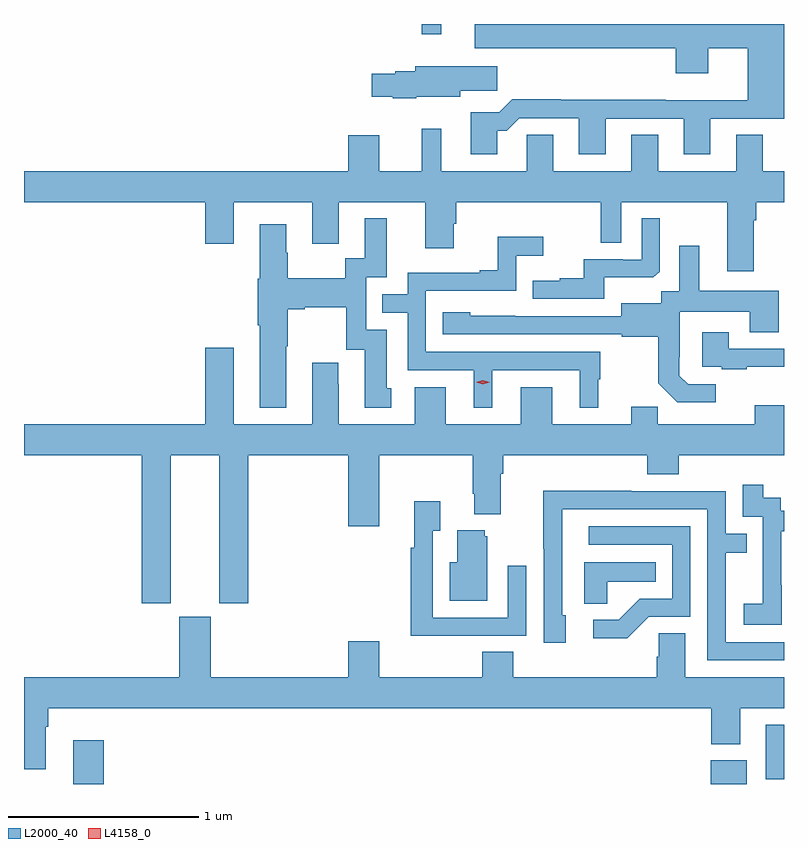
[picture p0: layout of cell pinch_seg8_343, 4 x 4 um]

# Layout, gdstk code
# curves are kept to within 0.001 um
import gdstk
lib = gdstk.Library(unit=1e-6, precision=1e-09)
def R(c, l, rs):  # rectangles x0, y0, x1, y1
    for r in rs: c.add(gdstk.rectangle(r[:2], r[2:], *l))
def P(c, l, *ps):  # polygons
    for p in ps: c.add(gdstk.Polygon(p, *l))
L2000_40 = (2000, 40)
L4158_0 = (4158, 0)

pinch_seg8_343 = lib.new_cell('pinch_seg8_343')
R(pinch_seg8_343, L2000_40, [(487.238,1154.73,487.397,1154.959), (490.592,1154.73,490.783,1154.854), (490.883,1154.754,490.978,1155.043), (489.071,1158.675,489.175,1158.73)])
P(pinch_seg8_343, L2000_40, [(489.469,1158.167),(489.518,1158.167),(489.585,1158.234),(489.899,1158.234),(489.899,1158.045),(490.039,1158.045),(490.039,1158.231),(490.451,1158.231),(490.451,1158.045),(490.591,1158.045),(490.591,1158.231),(490.978,1158.231),(490.978,1158.73),(489.35,1158.73),(489.35,1158.602),(490.409,1158.602),(490.409,1158.471),(490.579,1158.471),(490.579,1158.602),(490.787,1158.602),(490.787,1158.328),(490.355,1158.328),(490.355,1158.332),(489.803,1158.332),(489.803,1158.335),(489.548,1158.335),(489.478,1158.265),(489.329,1158.265),(489.329,1158.045),(489.469,1158.045)],
  [(489.042,1158.347),(489.274,1158.347),(489.274,1158.379),(489.469,1158.379),(489.469,1158.508),(489.038,1158.508),(489.038,1158.482),(488.931,1158.482),(488.931,1158.469),(488.808,1158.469),(488.808,1158.347),(488.92,1158.347),(488.92,1158.34),(489.042,1158.34)],
  [(490.819,1157.696),(490.832,1157.696),(490.832,1157.792),(490.978,1157.792),(490.978,1157.956),(490.867,1157.956),(490.867,1158.146),(490.727,1158.146),(490.727,1157.956),(490.315,1157.956),(490.315,1158.146),(490.175,1158.146),(490.175,1157.956),(489.763,1157.956),(489.763,1158.146),(489.624,1158.146),(489.624,1157.956),(489.175,1157.956),(489.175,1158.178),(489.071,1158.178),(489.071,1157.956),(488.848,1157.956),(488.848,1158.145),(488.684,1158.145),(488.684,1157.956),(486.978,1157.956),(486.978,1157.792),(487.931,1157.792),(487.931,1157.574),(488.083,1157.574),(488.083,1157.792),(488.495,1157.792),(488.495,1157.574),(488.635,1157.574),(488.635,1157.792),(489.089,1157.792),(489.089,1157.55),(489.241,1157.55),(489.241,1157.679),(489.254,1157.679),(489.254,1157.792),(490.014,1157.792),(490.014,1157.578),(490.122,1157.578),(490.122,1157.792),(490.679,1157.792),(490.679,1157.43),(490.819,1157.43)],
  [(490.033,1157.396),(490.291,1157.396),(490.323,1157.427),(490.323,1157.707),(490.23,1157.707),(490.23,1157.49),(490.13,1157.49),(490.13,1157.493),(489.923,1157.493),(489.923,1157.392),(489.799,1157.392),(489.799,1157.38),(489.655,1157.38),(489.655,1157.283),(490.033,1157.283)],
  [(488.359,1157.035),(488.367,1157.035),(488.367,1157.228),(488.455,1157.228),(488.455,1157.24),(488.675,1157.24),(488.675,1157.016),(488.771,1157.016),(488.771,1156.71),(488.911,1156.71),(488.911,1156.812),(488.887,1156.812),(488.887,1157.121),(488.778,1157.121),(488.778,1157.397),(488.887,1157.397),(488.887,1157.707),(488.771,1157.707),(488.771,1157.498),(488.67,1157.498),(488.67,1157.392),(488.367,1157.392),(488.367,1157.526),(488.359,1157.526),(488.359,1157.677),(488.219,1157.677),(488.219,1157.388),(488.207,1157.388),(488.207,1157.144),(488.219,1157.144),(488.219,1156.709),(488.359,1156.709)],
  [(489.442,1156.908),(489.902,1156.908),(489.902,1156.709),(490,1156.709),(490,1156.86),(490.012,1156.86),(490.012,1157.004),(489.093,1157.004),(489.093,1157.325),(489.57,1157.325),(489.57,1157.51),(489.712,1157.51),(489.712,1157.609),(489.472,1157.609),(489.472,1157.434),(489.377,1157.434),(489.377,1157.421),(488.997,1157.421),(488.997,1157.307),(488.863,1157.307),(488.863,1157.211),(488.997,1157.211),(488.997,1156.908),(489.344,1156.908),(489.344,1156.709),(489.442,1156.709)],
  [(490.618,1156.833),(490.473,1156.833),(490.426,1156.88),(490.426,1156.975),(490.428,1156.975),(490.428,1157.216),(490.799,1157.216),(490.799,1157.107),(490.951,1157.107),(490.951,1157.326),(490.531,1157.326),(490.531,1157.563),(490.427,1157.563),(490.427,1157.324),(490.332,1157.324),(490.332,1157.26),(490.121,1157.26),(490.121,1157.193),(489.327,1157.194),(489.327,1157.212),(489.183,1157.212),(489.183,1157.097),(490.125,1157.097),(490.125,1157.085),(490.317,1157.085),(490.317,1156.839),(490.417,1156.739),(490.618,1156.739)],
  [(490.783,1156.925),(490.978,1156.925),(490.978,1157.022),(490.687,1157.022),(490.687,1157.107),(490.547,1157.107),(490.547,1156.926),(490.651,1156.926),(490.651,1156.914),(490.783,1156.914)],
  [(486.978,1156.46),(487.598,1156.46),(487.598,1155.681),(487.75,1155.681),(487.75,1156.46),(488.006,1156.46),(488.006,1155.681),(488.159,1155.681),(488.159,1156.46),(488.684,1156.46),(488.684,1156.086),(488.848,1156.086),(488.848,1156.46),(489.34,1156.46),(489.34,1156.258),(489.347,1156.258),(489.347,1156.151),(489.487,1156.151),(489.487,1156.364),(489.5,1156.364),(489.5,1156.46),(490.259,1156.46),(490.259,1156.361),(490.424,1156.361),(490.424,1156.46),(490.978,1156.46),(490.978,1156.723),(490.823,1156.723),(490.823,1156.624),(490.313,1156.624),(490.313,1156.715),(490.175,1156.715),(490.175,1156.624),(489.757,1156.624),(489.757,1156.819),(489.593,1156.819),(489.593,1156.624),(489.199,1156.624),(489.199,1156.819),(489.035,1156.819),(489.035,1156.624),(488.635,1156.624),(488.635,1156.835),(488.632,1156.835),(488.632,1156.948),(488.495,1156.948),(488.495,1156.624),(488.083,1156.624),(488.083,1157.026),(487.931,1157.026),(487.931,1156.624),(486.978,1156.624)],
  [(490.965,1155.775),(490.964,1155.775),(490.964,1156.059),(490.978,1156.059),(490.978,1156.167),(490.962,1156.167),(490.962,1156.236),(490.87,1156.236),(490.87,1156.306),(490.761,1156.306),(490.761,1156.137),(490.866,1156.137),(490.866,1155.908),(490.865,1155.908),(490.865,1155.679),(490.767,1155.679),(490.767,1155.569),(490.965,1155.569)],
  [(490.978,1155.477),(490.671,1155.477),(490.671,1155.946),(490.781,1155.946),(490.781,1156.047),(490.671,1156.047),(490.671,1156.272),(490.175,1156.272),(490.175,1156.274),(489.712,1156.274),(489.712,1155.967),(489.714,1155.967),(489.714,1155.474),(489.829,1155.474),(489.829,1155.618),(489.81,1155.618),(489.81,1156.176),(490.575,1156.176),(490.575,1155.381),(490.978,1155.381)],
  [(489.305,1155.51),(489.621,1155.51),(489.621,1155.88),(489.525,1155.88),(489.525,1155.606),(489.129,1155.606),(489.129,1156.063),(489.169,1156.063),(489.169,1156.219),(489.032,1156.219),(489.032,1155.974),(489.013,1155.974),(489.013,1155.509),(489.305,1155.509)],
  [(490.266,1155.609),(490.485,1155.609),(490.485,1156.086),(489.951,1156.086),(489.951,1155.99),(490.389,1155.99),(490.389,1155.705),(490.22,1155.705),(490.109,1155.594),(489.975,1155.594),(489.975,1155.497),(490.153,1155.497)],
  [(489.415,1156.035),(489.404,1156.035),(489.404,1156.066),(489.257,1156.066),(489.257,1155.898),(489.218,1155.898),(489.218,1155.695),(489.415,1155.695)],
  [(490.047,1155.794),(490.304,1155.794),(490.304,1155.898),(489.926,1155.898),(489.926,1155.679),(490.047,1155.679)],
  [(487.093,1155.032),(487.106,1155.032),(487.106,1155.128),(490.595,1155.128),(490.595,1154.939),(490.747,1154.939),(490.747,1155.128),(490.978,1155.128),(490.978,1155.292),(490.459,1155.292),(490.459,1155.524),(490.32,1155.524),(490.32,1155.401),(490.307,1155.401),(490.307,1155.292),(489.554,1155.292),(489.554,1155.425),(489.389,1155.425),(489.389,1155.292),(488.848,1155.292),(488.848,1155.481),(488.684,1155.481),(488.684,1155.292),(487.96,1155.292),(487.96,1155.609),(487.796,1155.609),(487.796,1155.292),(486.978,1155.292),(486.978,1154.808),(487.093,1154.808)])
P(pinch_seg8_343, L4158_0, [(489.393,1156.835),(489.357,1156.844),(489.357,1156.845),(489.357,1156.845),(489.393,1156.855),(489.429,1156.845),(489.429,1156.845),(489.429,1156.844)])

lib.write_gds('pinch_seg8_343.gds')
